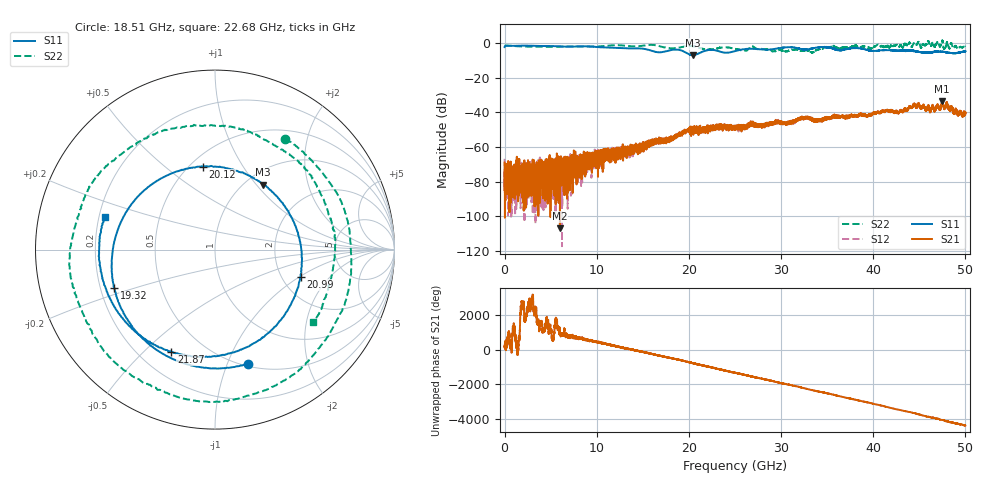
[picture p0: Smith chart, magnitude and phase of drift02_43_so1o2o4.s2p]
!Created with skrf (http://scikit-rf.org).
# Hz S RI R 50.0
!freq ReS11 ImS11 ReS21 ImS21 ReS12 ImS12 ReS22 ImS22
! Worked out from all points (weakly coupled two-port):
!   10001 points, 300 kHz to 50 GHz, reference 50 ohm
!   highest |S21| = -33.62 dB at 47.48 GHz (marker M1); lowest = -106.9 dB at 6 GHz (marker M2)
!   lowest |S11| = -6.9 dB at 20.44 GHz (marker M3), VSWR 2.64, Z = 59.8 + j54.4 ohm
!   |S11| at or under -10 dB: nowhere
!   |S22| runs from -5.3 to 1.7 dB; largest |S21 - S12| = 0.0032
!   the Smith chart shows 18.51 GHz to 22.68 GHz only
!   S11 on the Smith chart (normalised r, x): 18.51 GHz: 0.53, -1.19; 19.32 GHz: 0.26, -0.17; 20.12 GHz: 0.58, +0.68; 20.99 GHz: 2.53, -1.03; 21.87 GHz: 0.33, -0.61; 22.68 GHz: 0.22, +0.14
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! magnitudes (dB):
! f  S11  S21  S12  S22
! 300 kHz  -2.1  -69.0  -66.8  -1.3
! 350.3 MHz  -1.4  -79.9  -77.0  -1.3
! 3.44 GHz  -1.5  -79.3  -75.0  -2.0
! 3.835 GHz  -1.5  -70.7  -71.3  -1.9
! 6 GHz  -1.8  -106.9  -79.9  -1.9
! 8.335 GHz  -1.7  -67.6  -76.7  -1.9
! 16.67 GHz  -5.2  -57.7  -56.0  -1.5
! 18.51 GHz  -3.6  -53.7  -54.3  -2.7
! 19.32 GHz  -4.4  -51.0  -52.1  -2.1
! 20.12 GHz  -6.6  -50.8  -50.0  -1.5
! 20.44 GHz  -6.9  -50.0  -49.3  -1.8
! 20.99 GHz  -6.0  -49.5  -49.6  -2.3
! 21.87 GHz  -4.1  -50.0  -50.0  -3.5
! 22.68 GHz  -3.9  -48.0  -49.0  -3.3
! 25 GHz  -4.5  -49.0  -49.2  -3.2
! 26.11 GHz  -3.3  -48.0  -48.4  -4.3
! 26.9 GHz  -3.2  -46.7  -45.9  -1.6
! 33.34 GHz  -3.0  -44.5  -43.6  -5.2
! 34.89 GHz  -2.2  -43.2  -43.3  -2.3
! 41.67 GHz  -3.9  -39.4  -39.3  -2.0
! 47.48 GHz  -4.8  -33.6  -34.2  1.5
! 50 GHz  -4.7  -40.0  -40.2  -1.5
